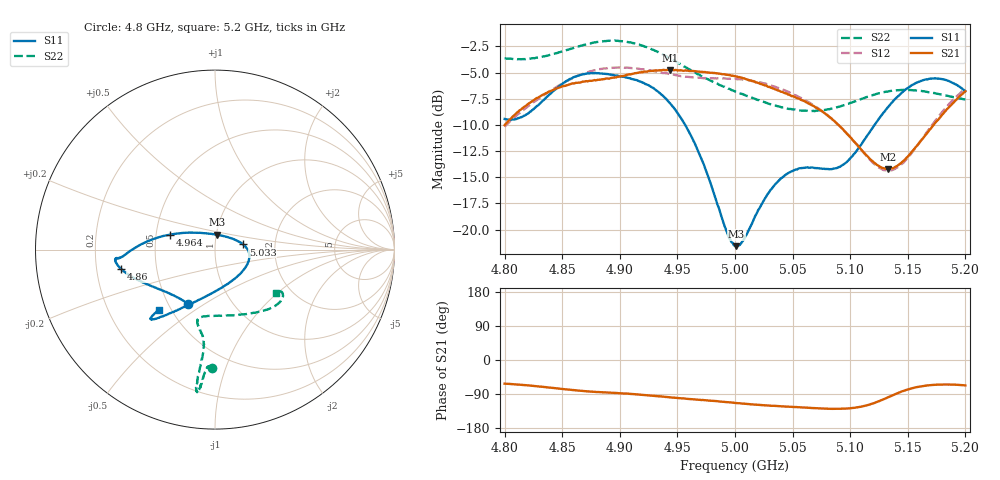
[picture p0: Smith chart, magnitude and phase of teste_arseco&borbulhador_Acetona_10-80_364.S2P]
! Network Analyzer HP8722D
! Hewlett-Packard
! Data name: Linha & Wilkinson
! Saver's name: Rodrigo Anjos
! Comments: Teste da utilização de aquisição
! continua pelo VNA HP8722D
! Time and date: 17/4/2025 17:23
!  Frequency  S11  S21  S12  S22
# HZ  S  MA R 50
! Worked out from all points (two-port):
!   401 points, 4.8 GHz to 5.2 GHz, reference 50 ohm
!   highest |S21| = -4.74 dB at 4.944 GHz (marker M1); lowest = -14.2 dB at 5.133 GHz (marker M2)
!   |S21| within 3 dB of the highest: 4.824 GHz to 5.061 GHz (236.7 MHz wide, 4.79 % of centre); 5.190718 GHz to end of sweep
!   lowest |S11| = -21.6 dB at 5.001 GHz (marker M3), VSWR 1.18, Z = 50.5 + j8.39 ohm
!   |S11| at or under -10 dB: 4.957 GHz to 5.121 GHz (164.4 MHz wide, 3.26 % of centre)
!   |S22| runs from -8.7 to -1.9 dB; largest |S21 - S12| = 0.87
!   S11 on the Smith chart (normalised r, x): 4.8 GHz: 0.62, -0.42; 4.86 GHz: 0.31, -0.09; 4.964 GHz: 0.59, +0.11; 5.033 GHz: 1.37, +0.08; 5.2 GHz: 0.43, -0.36
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4.8e9  0.3376 -116.9  0.3155 -62.5  0.3097 -176.7  0.6584 -91.6
4.819e9  0.3555 -137.1  0.3928 -66.6  0.3822 -176.2  0.6542 -93.3
4.86e9  0.5351 -168.4  0.4988 -79.4  0.5315 -179.7  0.7377 -95.6
4.867e9  0.5506 -171.1  0.5073 -81.4  0.5507 179.1  0.7575 -96.1
4.898e9  0.5441 -174.9  0.5376 -87.2  0.5945 173.2  0.798 -97.2
4.934e9  0.4525 179.3  0.5764 -95.8  0.566 169.8  0.6993 -97.6
4.944e9  0.3989 174.8  0.5795 -98.6  0.5523 170.1  0.656 -97.1
4.964e9  0.2651 161.6  0.5716 -103.8  0.5328 171.8  0.5669 -96.6
4.993e9  0.09737 112.7  0.5492 -111.3  0.5262 174.0  0.4752 -99.0
5e9  0.08375 86.1  0.5403 -113.2  0.5255 174.1  0.4572 -100.2
5.001e9  0.08337 81.9  0.539 -113.3  0.5246 174.2  0.4566 -100.7
5.008e9  0.09023 55.3  0.5278 -115.3  0.5204 173.8  0.4407 -102.0
5.033e9  0.1599 10.3  0.472 -120.7  0.4843 172.6  0.3946 -103.5
5.049e9  0.1896 -4.8  0.434 -123.6  0.4471 172.2  0.3761 -98.5
5.067e9  0.1981 -24.1  0.3917 -126.8  0.3966 172.0  0.3688 -88.3
5.096e9  0.2083 -74.7  0.2915 -128.2  0.2921 174.7  0.3957 -65.7
5.119e9  0.3038 -109.5  0.2126 -115.3  0.2104 -170.4  0.4379 -50.5
5.133e9  0.3857 -120.7  0.195 -98.2  0.1915 -151.3  0.4573 -43.6
5.134e9  0.3913 -121.4  0.1955 -96.8  0.1915 -149.9  0.4588 -43.3
5.148e9  0.4662 -127.7  0.2175 -79.6  0.2141 -129.8  0.465 -38.1
5.168e9  0.5242 -132.1  0.2953 -67.0  0.2997 -113.2  0.4529 -33.5
5.2e9  0.4585 -133.2  0.4578 -67.1  0.4694 -109.2  0.4173 -35.0
